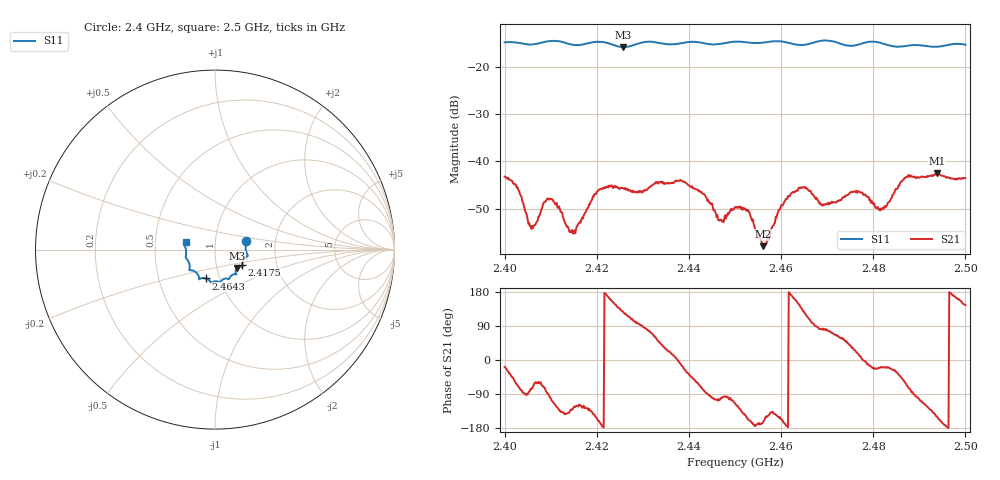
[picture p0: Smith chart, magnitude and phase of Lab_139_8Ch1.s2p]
# Hz S RI R 50
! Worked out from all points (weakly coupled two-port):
!   601 points, 2.4 GHz to 2.5 GHz, reference 50 ohm
!   highest |S21| = -42.50 dB at 2.4938 GHz (marker M1); lowest = -57.9 dB at 2.456 GHz (marker M2)
!   lowest |S11| = -15.9 dB at 2.4257 GHz (marker M3), VSWR 1.38, Z = 62.5 - j13.1 ohm
!   |S11| at or under -10 dB: start of sweep to end of sweep
!   S12 and S22 are empty: the file has one direction only
!   S11 on the Smith chart (normalised r, x): 2.4 GHz: 1.41, +0.14; 2.4175 GHz: 1.34, -0.23; 2.4643 GHz: 0.86, -0.29; 2.5 GHz: 0.72, +0.06
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2.4e9  0.1728 0.0488  0.00656 -0.00215  0 0  0 0
2.402833e9  0.1744 0.0354  0.00206 -0.00489  0 0  0 0
2.405667e9  0.1703 0.00592  0.000521 -0.00202  0 0  0 0
2.409833e9  0.1826 -0.0322  -0.000585 -0.00399  0 0  0 0
2.4145e9  0.1627 -0.0508  -0.00116 -0.00138  0 0  0 0
2.416667e9  0.1528 -0.0739  -0.00127 -0.00209  0 0  0 0
2.4175e9  0.1519 -0.0834  -0.00167 -0.00236  0 0  0 0
2.4205e9  0.154 -0.0974  -0.00477 -0.00164  0 0  0 0
2.425667e9  0.123 -0.1019  -0.00315 0.00409  0 0  0 0
2.433333e9  0.1132 -0.1373  0.00383 0.00437  0 0  0 0
2.442167e9  0.0737 -0.1641  0.00211 -0.00445  0 0  0 0
2.447e9  0.0405 -0.1688  -0.00041 -0.00239  0 0  0 0
2.45e9  0.0287 -0.1807  -0.00135 -0.00302  0 0  0 0
2.452667e9  0.0194 -0.1784  -0.00266 -0.00137  0 0  0 0
2.456e9  -0.00617 -0.1781  -0.00124 -0.000311  0 0  0 0
2.464333e9  -0.0499 -0.1609  -0.00395 0.00356  0 0  0 0
2.466667e9  -0.0759 -0.1594  -0.000633 0.00448  0 0  0 0
2.469167e9  -0.0882 -0.1659  0.000444 0.0035  0 0  0 0
2.483333e9  -0.1412 -0.0901  0.00349 -0.00124  0 0  0 0
2.487167e9  -0.156 -0.0543  0.00295 -0.0062  0 0  0 0
2.493833e9  -0.1616 -0.00443  -0.00643 -0.00385  0 0  0 0
2.5e9  -0.1639 0.0431  -0.00543 0.00383  0 0  0 0
